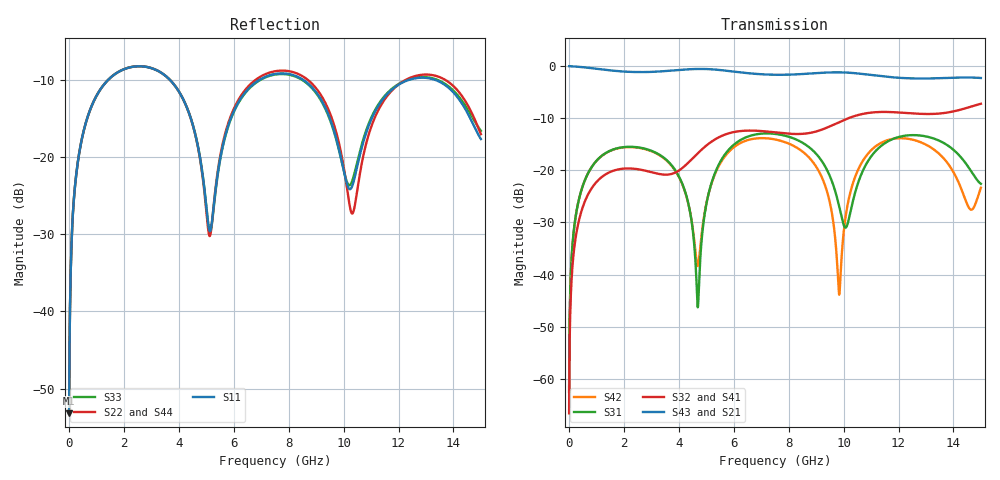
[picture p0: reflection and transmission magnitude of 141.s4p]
! Created with skrf 1.8.0 (http://scikit-rf.org).
# GHz S RI R 50.0
!freq ReS11 ImS11 ReS12 ImS12 ReS13 ImS13
! ReS14 ImS14
! ReS21 ImS21 ReS22 ImS22 ReS23 ImS23
! ReS24 ImS24
! ReS31 ImS31 ReS32 ImS32 ReS33 ImS33
! ReS34 ImS34
! ReS41 ImS41 ReS42 ImS42 ReS43 ImS43
! ReS44 ImS44
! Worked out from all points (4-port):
!   2499 points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, 5 MHz to 15 GHz, reference 50 ohm
!   strongest paths, dB at 5 MHz, 3.476 GHz, 7.19 GHz, 11.1 GHz, 15 GHz:
!     S43: 0.0, -1.0, -1.6, -1.8, -2.3
!     S21: 0.0, -1.0, -1.6, -1.8, -2.3
!     S32: -66.6, -20.8, -12.5, -8.9, -7.2
!     S41: -66.6, -20.9, -12.6, -8.9, -7.2
!     S31: -62.5, -17.7, -12.9, -16.7, -22.6
!     S42: -62.5, -17.8, -13.9, -15.7, -23.3
!   lowest |S11| = -53.2 dB at 5 MHz (marker M1), VSWR 1.00, Z = 50.2 + j0.132 ohm
!   |S11| at or under -10 dB: 3.678 GHz to 6.929 GHz (3.251 GHz wide, 61.3 % of centre); 8.537 GHz to 12.37 GHz (3.835 GHz wide, 36.7 % of centre); 13.34 GHz to end of sweep (the widest 3 of 4)
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0.005  0.00174 0.00132  0.9982 -0.0034  8.98e-05 0.000745  -8.69e-05 -0.000459
       0.9982 -0.0034  0.00174 0.00132  -8.69e-05 -0.000459  8.98e-05 0.000745
       8.98e-05 0.000745  -8.69e-05 -0.000459  0.00174 0.00132  0.9982 -0.0034
       -8.69e-05 -0.000459  8.98e-05 0.000745  0.9982 -0.0034  0.00174 0.00132
1.569404  0.29 0.1654  0.499 -0.7557  0.1461 0.0577  -0.098 0.00285
          0.499 -0.7557  0.2907 0.1648  -0.0981 0.00306  0.1441 0.0608
          0.1461 0.0577  -0.0981 0.00306  0.2899 0.1655  0.4989 -0.7558
          -0.098 0.00285  0.1441 0.0608  0.4989 -0.7558  0.2909 0.1647
4.695707  0.0584 -0.1018  -0.8788 -0.3305  -0.0049 0.000179  -0.0486 0.138
          -0.8788 -0.3305  0.0557 -0.1017  -0.0462 0.1388  -0.0121 -0.00107
          -0.0049 0.000179  -0.0462 0.1388  0.0585 -0.1026  -0.8786 -0.3306
          -0.0486 0.138  -0.0121 -0.00107  -0.8786 -0.3306  0.0562 -0.1025
7.940809  0.3458 -0.0297  -0.026 0.826  0.1808 -0.1116  0.212 -0.0672
          -0.026 0.826  0.3593 -0.0441  0.2127 -0.0739  0.1759 -0.0514
          0.1808 -0.1116  0.2127 -0.0739  0.3426 -0.0256  -0.0252 0.8266
          0.212 -0.0672  0.1759 -0.0514  -0.0252 0.8266  0.359 -0.0484
9.835348  0.0819 -0.0767  0.7759 0.3956  -0.0315 -0.0329  0.1276 -0.2601
          0.7759 0.3956  0.0697 -0.1006  0.1172 -0.2651  0.00645 -3.2e-05
          -0.0315 -0.0329  0.1172 -0.2651  0.0848 -0.0706  0.7774 0.3933
          0.1276 -0.2601  0.00645 -3.2e-05  0.7774 0.3933  0.0634 -0.0996
11.26094  0.1705 0.1298  0.7387 -0.3258  0.1404 0.0813  -0.1821 -0.3121
          0.7387 -0.3258  0.1496 0.1344  -0.1937 -0.3062  0.1498 0.094
          0.1404 0.0813  -0.1937 -0.3062  0.1738 0.1324  0.7361 -0.3282
          -0.1821 -0.3121  0.1498 0.094  0.7361 -0.3282  0.1528 0.1413
15  0.1254 -0.0374  -0.6545 -0.4065  -0.0743 0.000886  -0.2374 0.3663
    -0.6545 -0.4065  0.1193 -0.0747  -0.2154 0.3783  -0.0439 0.052
    -0.0743 0.000886  -0.2154 0.3783  0.1429 -0.0387  -0.6537 -0.4048
    -0.2374 0.3663  -0.0439 0.052  -0.6537 -0.4048  0.112 -0.0862
